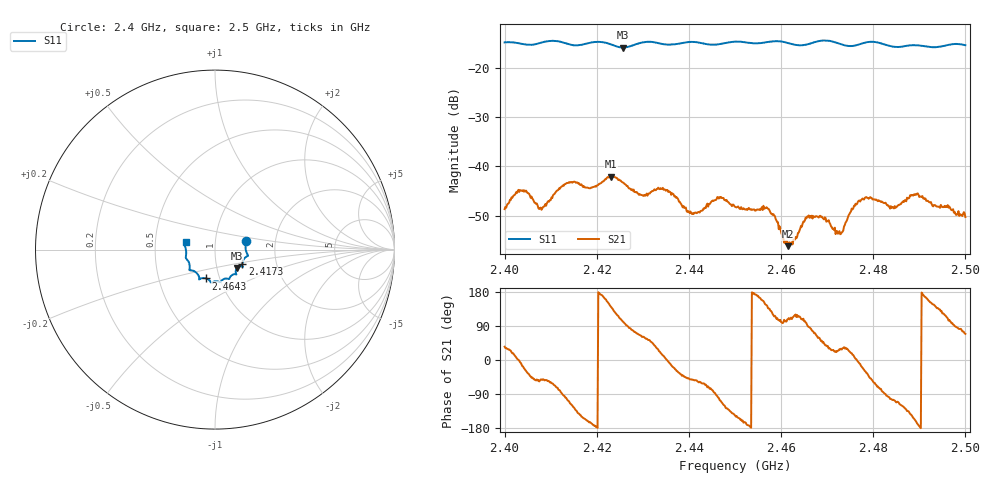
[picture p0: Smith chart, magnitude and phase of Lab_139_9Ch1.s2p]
# Hz S RI R 50
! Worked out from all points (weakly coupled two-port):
!   601 points, 2.4 GHz to 2.5 GHz, reference 50 ohm
!   highest |S21| = -42.10 dB at 2.4232 GHz (marker M1); lowest = -56.2 dB at 2.4615 GHz (marker M2)
!   lowest |S11| = -15.9 dB at 2.4257 GHz (marker M3), VSWR 1.38, Z = 62.5 - j13.1 ohm
!   |S11| at or under -10 dB: start of sweep to end of sweep
!   S12 and S22 are empty: the file has one direction only
!   S11 on the Smith chart (normalised r, x): 2.4 GHz: 1.41, +0.15; 2.4173 GHz: 1.34, -0.23; 2.4643 GHz: 0.86, -0.28; 2.5 GHz: 0.72, +0.06
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2.4e9  0.173 0.0498  0.00302 0.00211  0 0  0 0
2.403333e9  0.1729 0.0321  0.0057 -0.00056  0 0  0 0
2.407833e9  0.1774 -0.0193  0.00238 -0.00298  0 0  0 0
2.413167e9  0.1721 -0.0411  -0.00104 -0.00652  0 0  0 0
2.416667e9  0.1528 -0.075  -0.00565 -0.00334  0 0  0 0
2.417333e9  0.1522 -0.0824  -0.00554 -0.00259  0 0  0 0
2.423167e9  0.1439 -0.0932  -0.00592 0.00515  0 0  0 0
2.425667e9  0.1228 -0.1024  -0.00135 0.00671  0 0  0 0
2.429667e9  0.1175 -0.1351  0.00227 0.00458  0 0  0 0
2.433333e9  0.1125 -0.1367  0.00538 0.0028  0 0  0 0
2.440667e9  0.0787 -0.1643  0.00202 -0.00259  0 0  0 0
2.446667e9  0.0425 -0.1678  -0.00134 -0.00468  0 0  0 0
2.45e9  0.0297 -0.1809  -0.00323 -0.00216  0 0  0 0
2.457e9  -0.0138 -0.1808  -0.00299 0.0023  0 0  0 0
2.4615e9  -0.0273 -0.1752  -0.000467 0.00148  0 0  0 0
2.464333e9  -0.0501 -0.1607  -0.000788 0.00237  0 0  0 0
2.466667e9  -0.0763 -0.1601  0.000643 0.00309  0 0  0 0
2.472833e9  -0.0903 -0.1482  0.00181 0.000955  0 0  0 0
2.477167e9  -0.1283 -0.1165  0.00432 -0.000808  0 0  0 0
2.483333e9  -0.1409 -0.0895  -0.000516 -0.00389  0 0  0 0
2.489333e9  -0.1628 -0.0446  -0.00492 -0.00151  0 0  0 0
2.5e9  -0.1633 0.0419  0.0011 0.00286  0 0  0 0
